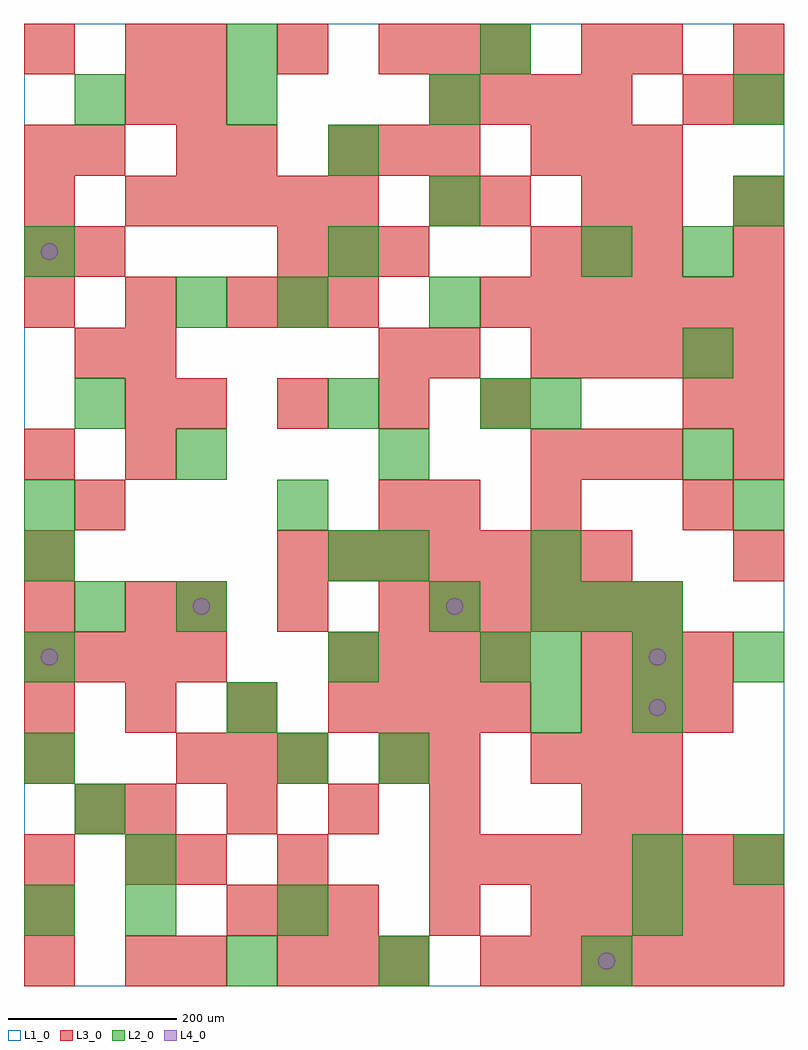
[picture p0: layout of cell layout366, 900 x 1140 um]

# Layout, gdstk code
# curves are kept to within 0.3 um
import gdstk
lib = gdstk.Library(unit=1e-6, precision=1e-09)
def R(c, l, rs):  # rectangles x0, y0, x1, y1
    for r in rs: c.add(gdstk.rectangle(r[:2], r[2:], *l))
def A(c, l, x, y, w, h, nx, ny, dx, dy):  # array of equal rectangles
    R(c, l, [(x+i*dx, y+j*dy, x+i*dx+w, y+j*dy+h) for i in range(nx) for j in range(ny)])
def P(c, l, *ps):  # polygons
    for p in ps: c.add(gdstk.Polygon(p, *l))
L1_0 = (1, 0)
L2_0 = (2, 0)
L3_0 = (3, 0)
L4_0 = (4, 0)

layout366 = lib.new_cell('layout366')
R(layout366, L1_0, [(0,0,900,1140)])
A(layout366, L2_0, 420, 0, 60, 60, 1, 3, 0, 240)
A(layout366, L2_0, 60, 180, 60, 60, 1, 3, 0, 240)
A(layout366, L2_0, 0, 240, 60, 60, 1, 3, 0, 120)
A(layout366, L2_0, 600, 300, 60, 60, 1, 3, 0, 180)
A(layout366, L2_0, 600, 360, 60, 60, 3, 1, 120, 0)
A(layout366, L2_0, 180, 420, 60, 60, 1, 3, 0, 180)
A(layout366, L2_0, 600, 420, 60, 60, 3, 1, 60, 0)
A(layout366, L2_0, 360, 480, 60, 60, 1, 3, 0, 180)
A(layout366, L2_0, 780, 600, 60, 60, 1, 3, 0, 120)
A(layout366, L2_0, 480, 780, 60, 60, 1, 3, 0, 120)
R(layout366, L2_0, [(240,0,300,60), (660,0,720,60), (0,60,60,120), (120,60,180,120), (300,60,360,120), (720,60,780,120), (120,120,180,180), (720,120,780,180), (840,120,900,180), (300,240,360,300), (240,300,300,360), (720,300,780,360), (360,360,420,420), (540,360,600,420), (480,420,540,480), (0,540,60,600), (300,540,360,600), (840,540,900,600), (420,600,480,660), (540,660,600,720), (300,780,360,840), (0,840,60,900), (660,840,720,900), (840,900,900,960), (360,960,420,1020), (60,1020,120,1080), (240,1020,300,1080), (840,1020,900,1080), (240,1080,300,1140), (540,1080,600,1140)])
A(layout366, L3_0, 0, 0, 60, 60, 1, 3, 0, 60)
A(layout366, L3_0, 300, 0, 60, 60, 3, 2, 60, 840)
A(layout366, L3_0, 540, 0, 60, 60, 6, 2, 60, 780)
A(layout366, L3_0, 240, 60, 60, 60, 3, 1, 60, 0)
A(layout366, L3_0, 600, 60, 60, 60, 5, 2, 60, 660)
A(layout366, L3_0, 480, 120, 60, 60, 7, 1, 60, 0)
A(layout366, L3_0, 120, 180, 60, 60, 4, 1, 120, 0)
A(layout366, L3_0, 180, 240, 60, 60, 3, 1, 60, 0)
A(layout366, L3_0, 600, 240, 60, 60, 3, 2, 60, 360)
A(layout366, L3_0, 0, 300, 60, 60, 4, 1, 120, 0)
A(layout366, L3_0, 420, 300, 60, 60, 3, 1, 60, 0)
A(layout366, L3_0, 660, 300, 60, 60, 3, 2, 60, 60)
A(layout366, L3_0, 0, 360, 60, 60, 4, 1, 60, 0)
A(layout366, L3_0, 360, 360, 60, 60, 4, 1, 60, 0)
A(layout366, L3_0, 180, 420, 60, 60, 3, 2, 120, 660)
A(layout366, L3_0, 480, 420, 60, 60, 5, 1, 60, 0)
A(layout366, L3_0, 300, 480, 60, 60, 7, 1, 60, 0)
A(layout366, L3_0, 480, 540, 60, 60, 1, 4, 0, 180)
A(layout366, L3_0, 120, 600, 60, 60, 1, 3, 0, 60)
A(layout366, L3_0, 180, 660, 60, 60, 4, 1, 120, 0)
A(layout366, L3_0, 60, 720, 60, 60, 1, 3, 0, 120)
A(layout366, L3_0, 0, 780, 60, 60, 3, 1, 120, 0)
A(layout366, L3_0, 0, 840, 60, 60, 1, 3, 0, 60)
A(layout366, L3_0, 600, 840, 60, 60, 3, 2, 60, 120)
A(layout366, L3_0, 120, 900, 60, 60, 5, 1, 60, 0)
A(layout366, L3_0, 360, 960, 60, 60, 3, 1, 60, 0)
A(layout366, L3_0, 480, 1020, 60, 60, 4, 1, 60, 0)
R(layout366, L3_0, [(120,0,180,60), (180,0,240,60), (480,60,540,120), (120,120,180,180), (180,120,240,180), (300,120,360,180), (60,180,120,240), (660,180,720,240), (720,180,780,240), (0,240,60,300), (420,240,480,300), (480,240,540,300), (0,420,60,480), (120,420,180,480), (0,480,60,540), (840,480,900,540), (60,540,120,600), (420,540,480,600), (600,540,660,600), (780,540,840,600), (0,600,60,660), (840,600,900,660), (780,660,840,720), (840,660,900,720), (420,720,480,780), (300,780,360,840), (360,780,420,840), (840,840,900,900), (540,900,600,960), (660,900,720,960), (720,900,780,960), (840,900,900,960), (180,960,240,1020), (240,960,300,1020), (120,1020,180,1080), (180,1020,240,1080), (780,1020,840,1080), (840,1020,900,1080), (0,1080,60,1140), (120,1080,180,1140), (540,1080,600,1140), (660,1080,720,1140), (720,1080,780,1140), (840,1080,900,1140)])
P(layout366, L4_0, [(40,390),(39.239,393.827),(37.071,397.071),(33.827,399.239),(30,400),(26.173,399.239),(22.929,397.071),(20.761,393.827),(20,390),(20.761,386.173),(22.929,382.929),(26.173,380.761),(30,380),(33.827,380.761),(37.071,382.929),(39.239,386.173)],
  [(40,870),(39.239,873.827),(37.071,877.071),(33.827,879.239),(30,880),(26.173,879.239),(22.929,877.071),(20.761,873.827),(20,870),(20.761,866.173),(22.929,862.929),(26.173,860.761),(30,860),(33.827,860.761),(37.071,862.929),(39.239,866.173)],
  [(220,450),(219.239,453.827),(217.071,457.071),(213.827,459.239),(210,460),(206.173,459.239),(202.929,457.071),(200.761,453.827),(200,450),(200.761,446.173),(202.929,442.929),(206.173,440.761),(210,440),(213.827,440.761),(217.071,442.929),(219.239,446.173)],
  [(520,450),(519.239,453.827),(517.071,457.071),(513.827,459.239),(510,460),(506.173,459.239),(502.929,457.071),(500.761,453.827),(500,450),(500.761,446.173),(502.929,442.929),(506.173,440.761),(510,440),(513.827,440.761),(517.071,442.929),(519.239,446.173)],
  [(700,30),(699.239,33.827),(697.071,37.071),(693.827,39.239),(690,40),(686.173,39.239),(682.929,37.071),(680.761,33.827),(680,30),(680.761,26.173),(682.929,22.929),(686.173,20.761),(690,20),(693.827,20.761),(697.071,22.929),(699.239,26.173)],
  [(760,330),(759.239,333.827),(757.071,337.071),(753.827,339.239),(750,340),(746.173,339.239),(742.929,337.071),(740.761,333.827),(740,330),(740.761,326.173),(742.929,322.929),(746.173,320.761),(750,320),(753.827,320.761),(757.071,322.929),(759.239,326.173)],
  [(760,390),(759.239,393.827),(757.071,397.071),(753.827,399.239),(750,400),(746.173,399.239),(742.929,397.071),(740.761,393.827),(740,390),(740.761,386.173),(742.929,382.929),(746.173,380.761),(750,380),(753.827,380.761),(757.071,382.929),(759.239,386.173)])

lib.write_gds('layout366.gds')
